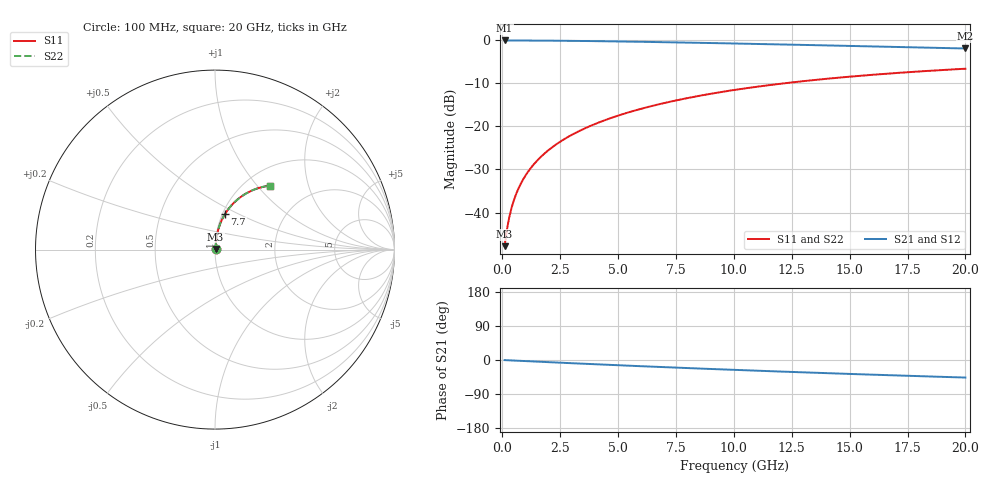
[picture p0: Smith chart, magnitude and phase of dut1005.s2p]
! Touchstone file exported from HFSS 2024.1.0
!  File:  C:/UserFiles/LocalFiles/RDL_TSV_Batchsim/temp_RDL_top_1005_1780042492.aedt
!  Generated:  04:17:53 PM May 29, 2026
!  Design:  RDL_top
!  Project:  temp_RDL_top_1005_1780042492
!  Setup:  Setup1
!  Solution:  Sweep
! Variables:
!  dtsv = 10.80580581um
!  hbump = 3um
!  htsv = 54.28um
!  ldown = 100um
!  lrdl = 620.37um
!  p = 40
!  p1 = 58.6um
!  rhole = 1um
!  t = 450um
!  tdown = 3.915915916um
!  trdl = 4.28um
!  wdown = 15.38538539um
!  wrdl = 18.18um
# GHz S MA R 50.000000
! Terminal data exported
! Port[1] = Box2_T1
! Port[2] = Box2_T2
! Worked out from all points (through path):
!   200 points, 100 MHz to 20 GHz, reference 50 ohm
!   highest |S21| = -0.03 dB at 100 MHz (marker M1); lowest = -1.9 dB at 20 GHz (marker M2)
!   group delay of S21, straight-line fit = 6.4 ps
!   lowest |S11| = -47.8 dB at 100 MHz (marker M3), VSWR 1.01, Z = 50.3 + j0.281 ohm
!   |S11| at or under -10 dB: start of sweep to 12.15 GHz
!   |S22| runs from -47.8 to -6.6 dB; largest |S21 - S12| = 6.8e-15
!   S11 on the Smith chart (normalised r, x): 100 MHz: 1.01, +0.01; 7.7 GHz: 1.03, +0.43; 20 GHz: 1.28, +1.17
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0.1  0.004063 43.4  0.997 -0.3  0.997 -0.3  0.004063 43.4
! Gamma 0 0 0 0
! Port Impedance 50 0 50 0
0.2  0.006322 60.8  0.9969 -0.6  0.9969 -0.6  0.006322 60.8
0.3  0.0088 68.5  0.9967 -0.9  0.9967 -0.9  0.0088 68.5
0.4  0.01133 72.7  0.9966 -1.2  0.9966 -1.2  0.01133 72.7
0.5  0.01388 75.4  0.9964 -1.4  0.9964 -1.4  0.01388 75.4
0.6  0.01645 77.3  0.9962 -1.7  0.9962 -1.7  0.01645 77.3
0.8  0.02162 79.6  0.9958 -2.3  0.9958 -2.3  0.02162 79.6
1.1  0.02944 81.4  0.9951 -3.2  0.9951 -3.2  0.02944 81.4
1.5  0.03994 82.5  0.9939 -4.3  0.9939 -4.3  0.03994 82.5
1.8  0.04786 82.8  0.9927 -5.1  0.9927 -5.1  0.04786 82.8
2.1  0.0558 82.9  0.9914 -6.0  0.9914 -6.0  0.0558 82.9
2.7  0.07176 82.6  0.9883 -7.6  0.9883 -7.6  0.07176 82.6
3.5  0.09315 81.8  0.9831 -9.8  0.9831 -9.8  0.09315 81.8
4.2  0.112 80.8  0.9779 -11.7  0.9779 -11.7  0.112 80.8
5  0.1335 79.5  0.9711 -13.8  0.9711 -13.8  0.1335 79.5
5.9  0.1577 77.9  0.9629 -16.1  0.9629 -16.1  0.1577 77.9
6.8  0.1818 76.1  0.9541 -18.4  0.9541 -18.4  0.1818 76.1
7.7  0.2056 74.3  0.9448 -20.6  0.9448 -20.6  0.2057 74.3
10.1  0.2671 69.2  0.9185 -26.2  0.9185 -26.2  0.2672 69.2
13.4  0.3444 62.3  0.8805 -33.5  0.8805 -33.5  0.3445 62.3
16.7  0.4115 55.6  0.8419 -40.1  0.8419 -40.1  0.4115 55.6
20  0.4681 49.5  0.8042 -46.3  0.8042 -46.3  0.4681 49.5
